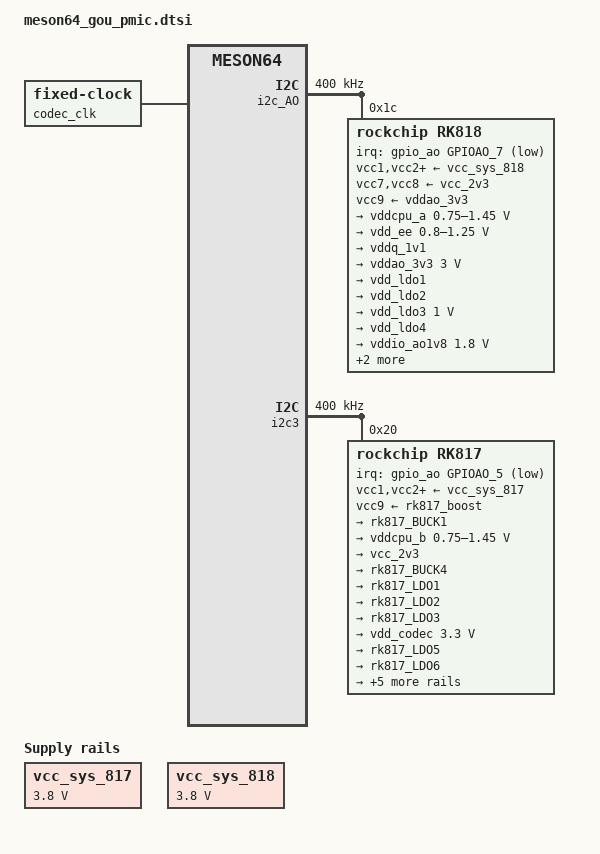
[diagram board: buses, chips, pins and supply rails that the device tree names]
/*
 * arch/arm64/boot/dts/amlogic/meson64_gou_pmic.dtsi
 *
 * Copyright (C) 2021 Hardkernel Co,. Ltd. All rights reserved.
 *
 * This program is free software; you can redistribute it and/or modify
 * it under the terms of the GNU General Public License as published by
 * the Free Software Foundation; either version 2 of the License, or
 * (at your option) any later version.
 *
 * This program is distributed in the hope that it will be useful, but WITHOUT
 * ANY WARRANTY; without even the implied warranty of MERCHANTABILITY or
 * FITNESS FOR A PARTICULAR PURPOSE.  See the GNU General Public License for
 * more details.
 *
 */

/{
	vcc_sys_817: sys_3v8_817 {
		compatible = "regulator-fixed";
		regulator-name = "vcc_sys_817";
		regulator-always-on;
		regulator-min-microvolt = <3800000>;
		regulator-max-microvolt = <3800000>;
	};
	vcc_sys_818: sys_3v8_818 {
		compatible = "regulator-fixed";
		regulator-name = "vcc_sys_818";
		regulator-always-on;
		regulator-min-microvolt = <3800000>;
		regulator-max-microvolt = <3800000>;
	};
	codec_clk: codec-clk {
		compatible = "fixed-clock";
		clock-frequency = <12288000>;
		clock-output-names = "codec_clk";
		#clock-cells = <0>;
	};
};

&i2c_AO {
	status = "okay";
	pinctrl-names="default";
	pinctrl-0=<&ao_i2c_master_pins1>;
	clock-frequency = <400000>;

	rk818: pmic@1c {
		compatible = "rockchip,rk818";
		reg = <0x1c>;
		status = "okay";
		gpio-irq = <&gpio_ao GPIOAO_7 GPIO_ACTIVE_LOW>;
		rockchip,system-power-controller;
		//wakeup-source;
		clock-output-names = "rk818-clkout1", "wifibt_32kin";
		#clock-cells = <1>;

		vcc1-supply = <&vcc_sys_818>;
		vcc2-supply = <&vcc_sys_818>;
		vcc3-supply = <&vcc_sys_818>;
		vcc4-supply = <&vcc_sys_818>;
		vcc6-supply = <&vcc_sys_818>;
		vcc7-supply = <&vcc_2v3>;
		vcc8-supply = <&vcc_2v3>;
		vcc9-supply = <&vddao_3v3>;

		regulators {
			vddcpu_a: DCDC_REG1 {
				regulator-name = "vdd_cpu_a";
				regulator-always-on;
				regulator-boot-on;
				regulator-min-microvolt = <750000>;
				regulator-max-microvolt = <1450000>;
				regulator-ramp-delay = <6001>;
				regulator-state-mem {
					regulator-on-in-suspend;
					regulator-suspend-microvolt = <1000000>;
				};
			};

			vdd_ee: DCDC_REG2 {
				regulator-name = "vdd_ee";
				regulator-always-on;
				regulator-boot-on;
				regulator-min-microvolt = <800000>;
				regulator-max-microvolt = <1250000>;
				regulator-ramp-delay = <6001>;
				regulator-state-mem {
					regulator-on-in-suspend;
					regulator-suspend-microvolt = <1000000>;
				};
			};

			vddq_1v1: DCDC_REG3 {
				regulator-name = "vcc_ddr";
				regulator-always-on;
				regulator-boot-on;
				regulator-state-mem {
					regulator-on-in-suspend;
				};
			};

			vddao_3v3: DCDC_REG4 {
				regulator-always-on;
				regulator-boot-on;
				regulator-min-microvolt = <3000000>;
				regulator-max-microvolt = <3000000>;
				regulator-name = "vddao_3v3";
				regulator-state-mem {
					regulator-on-in-suspend;
					regulator-suspend-microvolt = <3000000>;
				};
			};

			vdd_ldo1: LDO_REG1 {
				regulator-boot-off;
				regulator-name = "rk818_LDO1";
				regulator-state-mem {
					regulator-off-in-suspend;
				};
			};
			vdd_ldo2: LDO_REG2 {
				regulator-boot-off;
				regulator-name = "rk818_LDO2";
				regulator-state-mem {
					regulator-off-in-suspend;
				};
			};
			vdd_ldo3: LDO_REG3 {
				regulator-boot-off;
				regulator-min-microvolt = <1000000>;
				regulator-max-microvolt = <1000000>;
				regulator-name = "rk818_LDO3";
				regulator-state-mem {
					regulator-off-in-suspend;
				};
			};
			vdd_ldo4: LDO_REG4 {
				regulator-boot-off;
				regulator-name = "rk818_LDO4";
				regulator-state-mem {
					regulator-off-in-suspend;
				};
			};

			vddio_ao1v8: LDO_REG5 {
				regulator-always-on;
				regulator-boot-on;
				regulator-min-microvolt = <1800000>;
				regulator-max-microvolt = <1800000>;
				regulator-name = "vddio_ao1v8";
				regulator-state-mem {
					regulator-on-in-suspend;
					regulator-suspend-microvolt = <1800000>;
				};
			};

			LDO_REG6 {
				regulator-boot-off;
				regulator-name = "rk818_LDO6";
				regulator-state-mem {
					regulator-off-in-suspend;
					regulator-suspend-microvolt = <2500000>;
				};
			};

			vddq_1v8: LDO_REG7 {
				regulator-always-on;
				regulator-boot-on;
				regulator-min-microvolt = <1800000>;
				regulator-max-microvolt = <1800000>;
				regulator-name = "vcc_18";
				regulator-state-mem {
					regulator-on-in-suspend;
					regulator-suspend-microvolt = <1800000>;
				};
			};

			vdd_ldo8: LDO_REG8 {
				regulator-boot-off;
				regulator-name = "rk818_LDO8";
				regulator-state-mem {
					regulator-off-in-suspend;
				};
			};

			vddio_c: LDO_REG9 {
				regulator-always-on;
				regulator-boot-on;
				regulator-min-microvolt = <1800000>;
				regulator-max-microvolt = <3300000>;
				regulator-name = "vddio_c";
				regulator-state-mem {
					regulator-on-in-suspend;
					regulator-suspend-microvolt = <3300000>;
				};
			};

			vcc_sd: SWITCH_REG {
				regulator-name = "vcc_sd";
				regulator-always-on;
				regulator-boot-on;
				regulator-state-mem {
					regulator-on-in-suspend;
				};
			};

			boost_otg: DCDC_BOOST {
				regulator-name = "boost_otg";
				regulator-always-on;
				regulator-boot-on;
				regulator-min-microvolt = <5000000>;
				regulator-max-microvolt = <5000000>;
				regulator-state-mem {
					regulator-off-in-suspend;
				};
			};

			rk818_otg_switch: OTG_SWITCH {
				regulator-name = "rk818_otg_switch";
			};
		};
		battery {
			compatible = "rk818-battery";
			ocv_table = <
				3470 3599 3671 3701 3728 3746 3762
				3772 3781 3792 3816 3836 3866 3910
				3942 3971 4002 4050 4088 4132 4200>;
			design_capacity = <4000>;
			design_qmax = <4100>;
			bat_res = <180>;
			max_input_current = <2000>;
			max_chrg_current = <1500>;
			max_chrg_voltage = <4250>;
			sleep_enter_current = <300>;
			sleep_exit_current = <300>;
			power_off_thresd = <3450>;
			zero_algorithm_vol = <3700>;
			fb_temperature = <105>;
			sample_res = <10>;
			max_soc_offset = <60>;
			energy_mode = <0>;
			monitor_sec = <5>;
			virtual_power = <0>;
			power_dc2otg = <0>;
			otg_switch-supply = <&rk818_otg_switch>;
			otg5v_suspend_enable = <0>;
			dc_det_gpio = <&gpio_ao GPIOAO_8 GPIO_ACTIVE_LOW>;
			chg_led_gpio = <&gpio_ao GPIOAO_6 GPIO_ACTIVE_HIGH>;
		};
	};
};

&i2c3 {
	status = "okay";
	pinctrl-names="default";
	pinctrl-0=<&i2c3_master_pins2>;
	clock-frequency = <400000>;

	rk817: pmic@20 {
		compatible = "rockchip,rk817";
		reg = <0x20>;
		status = "okay";
		gpio-irq = <&gpio_ao GPIOAO_5 GPIO_ACTIVE_LOW>;
		pinctrl-names = "default", "pmic-sleep",
				"pmic-power-off", "pmic-reset";
		pinctrl-0 = <&rk817_slppin_null>;
		pinctrl-1 = <&rk817_slppin_slp>;
		pinctrl-2 = <&rk817_slppin_pwrdn>;
		pinctrl-3 = <&rk817_slppin_rst>;

		//rockchip,system-power-controller;
		wakeup-source;
		/* #clock-cells = <1>; */
		/* clock-output-names = "rk808-clkout1", "rk808-clkout2"; */
		fb-inner-reg-idxs = <2>;

		/* 1: rst regs (default in codes), 0: rst the pmic */
		pmic-reset-func = <0>;

		vcc1-supply = <&vcc_sys_817>;
		vcc2-supply = <&vcc_sys_817>;
		vcc3-supply = <&vcc_sys_817>;
		vcc4-supply = <&vcc_sys_817>;
		vcc5-supply = <&vcc_sys_817>;
		vcc6-supply = <&vcc_sys_817>;
		vcc7-supply = <&vcc_sys_817>;
		vcc8-supply = <&vcc_sys_817>;
		vcc9-supply = <&rk817_boost>;

		pinctrl_rk8xx: pinctrl_rk8xx {
			gpio-controller;
			#gpio-cells = <2>;

			rk817_ts_gpio1: rk817_ts_gpio1 {
				pins = "gpio_ts";
				function = "pin_fun1";
				/* output-low; */
				/* input-enable; */
			};

			rk817_gt_gpio2: rk817_gt_gpio2 {
				pins = "gpio_gt";
				function = "pin_fun1";
			};

			rk817_pin_ts: rk817_pin_ts {
				pins = "gpio_ts";
				function = "pin_fun0";
			};

			rk817_pin_gt: rk817_pin_gt {
				pins = "gpio_gt";
				function = "pin_fun0";
			};

			rk817_slppin_null: rk817_slppin_null {
				pins = "gpio_slp";
				function = "pin_fun0";
			};

			rk817_slppin_slp: rk817_slppin_slp {
				pins = "gpio_slp";
				function = "pin_fun1";
			};

			rk817_slppin_pwrdn: rk817_slppin_pwrdn {
				pins = "gpio_slp";
				function = "pin_fun2";
			};

			rk817_slppin_rst: rk817_slppin_rst {
				pins = "gpio_slp";
				function = "pin_fun3";
			};
		};

		regulators {
			/* Not Used */
			DCDC_REG1 {
				regulator-boot-off;
				regulator-name = "rk817_BUCK1";
				regulator-state-mem {
					regulator-off-in-suspend;
				};
			};
			vddcpu_b: DCDC_REG2 {
				regulator-always-on;
				regulator-boot-on;
				regulator-min-microvolt = <750000>;
				regulator-max-microvolt = <1450000>;
				regulator-ramp-delay = <6001>;
				regulator-initial-mode = <0x2>;
				regulator-name = "vdd_cpu_b";
				regulator-state-mem {
					regulator-on-in-suspend;
					regulator-suspend-microvolt = <1000000>;
				};
			};
			vcc_2v3: DCDC_REG3 {
				regulator-always-on;
				regulator-boot-on;
				regulator-initial-mode = <0x2>;
				regulator-name = "vcc_2v3";
				regulator-state-mem {
					regulator-on-in-suspend;
				};
			};
			DCDC_REG4 {
				regulator-boot-off;
				regulator-name = "rk817_BUCK4";
				regulator-state-mem {
					regulator-off-in-suspend;
				};
			};
			LDO_REG1 {
				regulator-boot-off;
				regulator-name = "rk817_LDO1";
				regulator-state-mem {
					regulator-off-in-suspend;
				};
			};
			LDO_REG2 {
				regulator-boot-off;
				regulator-name = "rk817_LDO2";
				regulator-state-mem {
					regulator-off-in-suspend;
				};
			};
			LDO_REG3 {
				regulator-boot-off;
				regulator-name = "rk817_LDO3";
				regulator-state-mem {
					regulator-off-in-suspend;
				};
			};
			vdd_codec: LDO_REG4 {
				regulator-always-on;
				regulator-boot-on;
				regulator-min-microvolt = <3300000>;
				regulator-max-microvolt = <3300000>;
				regulator-name = "vdd_codec";
				regulator-state-mem {
					regulator-off-in-suspend;
				};
			};
			LDO_REG5 {
				regulator-boot-off;
				regulator-name = "rk817_LDO5";
				regulator-state-mem {
					regulator-off-in-suspend;
				};
			};
			LDO_REG6 {
				regulator-boot-off;
				regulator-name = "rk817_LDO6";
				regulator-state-mem {
					regulator-off-in-suspend;
				};
			};
			LDO_REG7 {
				regulator-boot-off;
				regulator-name = "rk817_LDO7";
				regulator-state-mem {
					regulator-off-in-suspend;
				};
			};
			vcc_lcd: LDO_REG8 {
				regulator-always-on;
				regulator-boot-on;
				regulator-min-microvolt = <3000000>;
				regulator-max-microvolt = <3000000>;
				regulator-name = "vcc_lcd";
				regulator-state-mem {
					regulator-off-in-suspend;
				};
			};
			LDO_REG9 {
				regulator-boot-off;
				regulator-name = "rk817_LDO9";
				regulator-state-mem {
					regulator-off-in-suspend;
				};
			};
			rk817_boost: BOOST {
				regulator-always-on;
				regulator-boot-on;
				regulator-min-microvolt = <5000000>;
				regulator-max-microvolt = <5400000>;
				regulator-name = "boost";
				regulator-state-mem {
					regulator-off-in-suspend;
				};
			};
			OTG_SWITCH {
				regulator-name = "rk817_otg_switch";
				regulator-boot-on;
				regulator-always-on;
				regulator-state-mem {
					regulator-off-in-suspend;
				};
			};
		};

		rk817_codec: codec {
			#sound-dai-cells = <0>;
			compatible = "rockchip,rk817-codec";
			clocks = <&codec_clk>;
			clock-names = "mclk";
			hp-volume = <20>;
			spk-volume = <3>;
			status = "okay";
		};
	};
};
